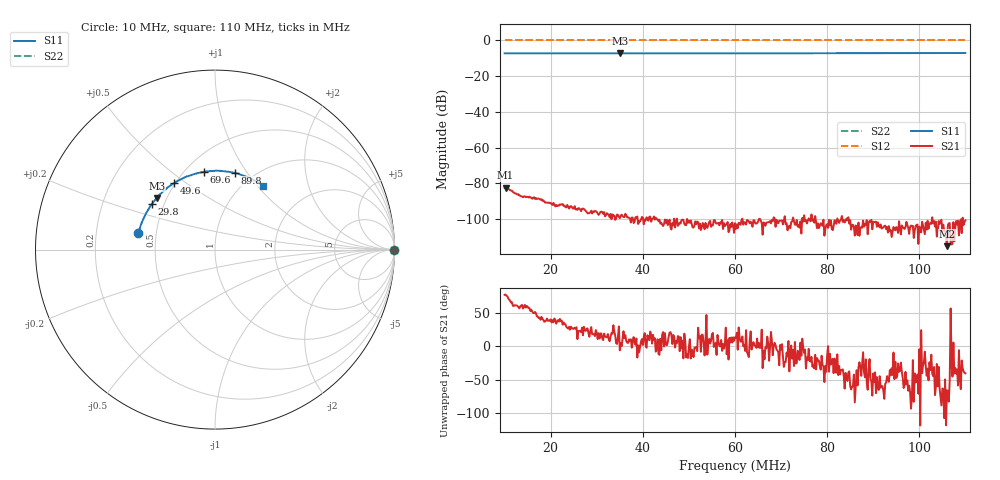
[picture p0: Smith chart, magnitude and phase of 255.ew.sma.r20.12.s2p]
! Anritsu VNA Master:  Model: MS2036C/10/77
! SN:  1601066
! /card0/usr/255.ew.sma.r20.12.s2p
! Existing Calibration Information:
! TYPE:  Current Settings,  Active Cal Settings
! TIME:  12/19/2017 06:11:04 PM,  12/19/2017 06:04:41 PM
! INTERNAL TEMP:  40.5 C,  39.8 C
! # POINTS:  501,  501
! START FREQ:  10.000 MHz,  10.000 MHz
! STOP FREQ:  110.000 MHz,  110.000 MHz
! SOURCE POWER:  High,  High
! IFBW:  100 Hz,  100 Hz
! AVG FACTOR:  1 ,  1
! REF PLANE 1:  0 mm,  0 mm
! REF PLANE 2:  0 mm,  0 mm
! CAL TYPE:  Full S11,  Full S11
! CAL METHOD:  SOLT,  SOLT
! CAL LINE TYPE:  Coax,  Coax
! DUT PORT 1:  N-Conn(F),  N-Conn(F)
! DUT PORT 2:  K-Conn(F),  K-Conn(F)
! CAL STATUS:  OK: Accuracy High,  --
# GHZ S DB R 50.0
! FREQ.GHZ  S11DB  S11A  S21DB  S21A  S12DB  S12A  S22DB  S22A
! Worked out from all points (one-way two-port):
!   501 points, 10 MHz to 110 MHz, reference 50 ohm
!   highest |S21| = -82.48 dB at 10.2 MHz (marker M1); lowest = -115.3 dB at 106 MHz (marker M2)
!   lowest |S11| = -7.3 dB at 35 MHz (marker M3), VSWR 2.53, Z = 22.2 + j15.7 ohm
!   |S11| at or under -10 dB: nowhere
!   |S22| runs from 0.0 to 0.0 dB; largest |S21 - S12| = 1
!   S11 on the Smith chart (normalised r, x): 10 MHz: 0.40, +0.09; 29.8 MHz: 0.43, +0.27; 49.6 MHz: 0.49, +0.45; 69.6 MHz: 0.61, +0.66; 89.8 MHz: 0.83, +0.88; 110 MHz: 1.21, +1.07
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0.01  -7.21 167.8  -82.62 76.9  0.00 0.0  0.00 0.0
0.0102  -7.20 167.7  -82.48 77.2  0.00 0.0  0.00 0.0
0.0174  -7.23 159.0  -88.63 42.1  0.00 0.0  0.00 0.0
0.0268  -7.27 147.9  -94.32 27.9  0.00 0.0  0.00 0.0
0.0298  -7.24 144.5  -95.74 24.1  0.00 0.0  0.00 0.0
0.035  -7.28 138.2  -99.61 -6.1  0.00 0.0  0.00 0.0
0.0374  -7.23 135.6  -102.04 10.4  0.00 0.0  0.00 0.0
0.0422  -7.27 129.8  -99.90 17.1  0.00 0.0  0.00 0.0
0.0434  -7.23 128.3  -101.34 -11.7  0.00 0.0  0.00 0.0
0.0496  -7.24 121.3  -100.02 -11.9  0.00 0.0  0.00 0.0
0.055  -7.21 115.0  -103.57 18.1  0.00 0.0  0.00 0.0
0.058  -7.19 111.6  -103.22 27.7  0.00 0.0  0.00 0.0
0.06  -7.21 109.6  -102.38 13.4  0.00 0.0  0.00 0.0
0.0654  -7.19 103.1  -99.97 -2.6  0.00 0.0  0.00 0.0
0.0696  -7.17 98.3  -101.03 -28.4  0.00 0.0  0.00 0.0
0.0768  -7.15 90.1  -101.07 -30.6  0.00 0.0  0.00 0.0
0.0846  -7.13 81.4  -99.08 -39.2  0.00 0.0  0.00 0.0
0.0898  -7.11 75.5  -105.84 -73.7  0.00 0.0  0.00 0.0
0.0934  -7.10 71.6  -104.05 -53.1  0.00 0.0  0.00 0.0
0.0994  -7.06 64.8  -103.35 -53.1  0.00 0.0  0.00 0.0
0.106  -7.05 57.4  -115.30 -65.6  0.00 0.0  0.00 0.0
0.11  -7.04 53.0  -100.85 -40.4  0.00 0.0  0.00 0.0
